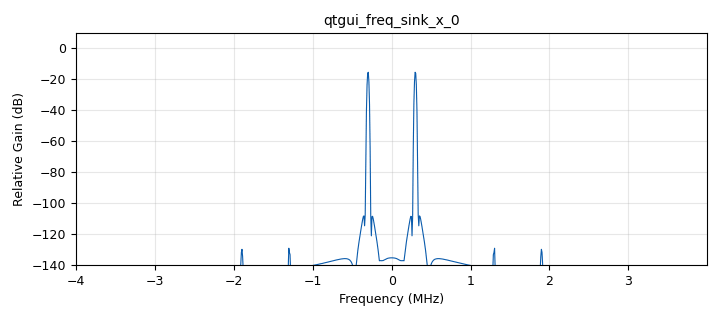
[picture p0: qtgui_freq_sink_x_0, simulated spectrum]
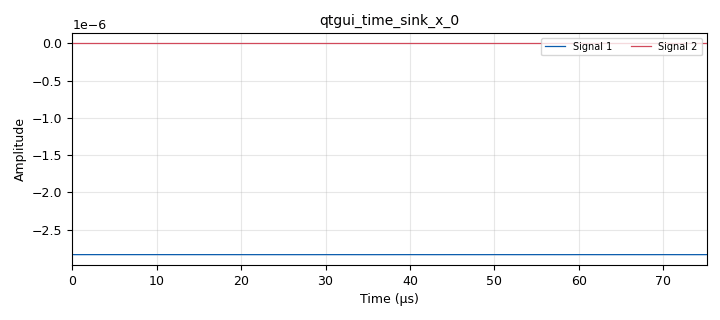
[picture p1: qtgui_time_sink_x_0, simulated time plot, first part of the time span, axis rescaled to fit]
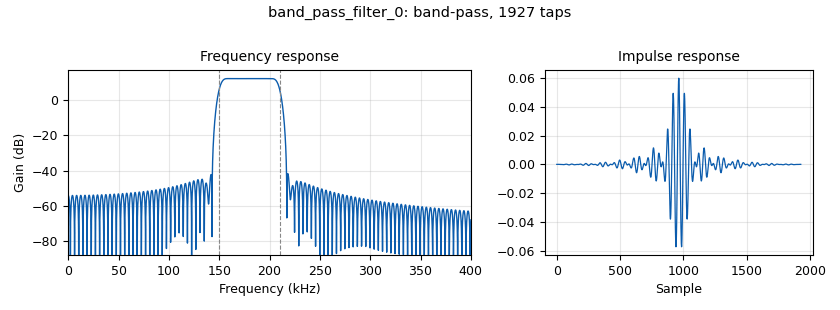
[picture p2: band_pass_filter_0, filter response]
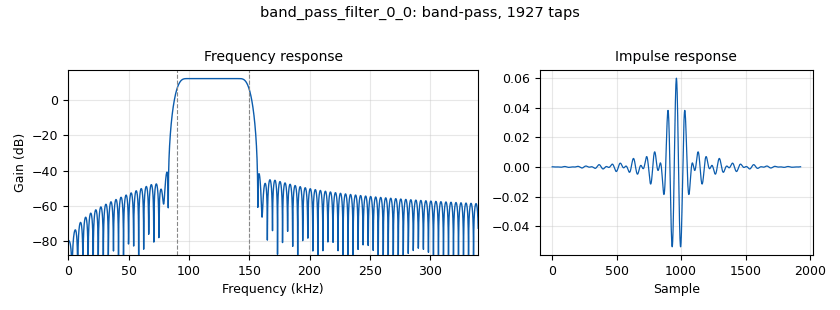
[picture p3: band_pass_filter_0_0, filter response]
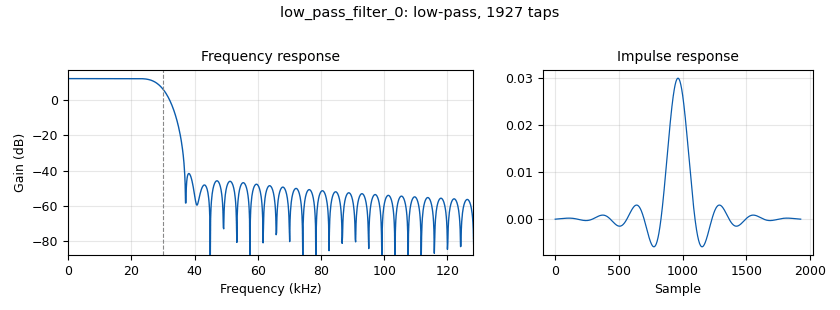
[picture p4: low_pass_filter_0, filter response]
options:
  parameters:
    generate_options: qt_gui
    id: Lab77
    output_language: python
    title: Not titled yet
  states: {}

blocks:
- name: samp_rate
  id: variable
  parameters:
    value: 8e6
  states: {}
- name: analog_sig_source_x_0
  id: analog_sig_source_x
  parameters:
    amp: '1'
    freq: 150e3
    offset: '0'
    phase: '0'
    samp_rate: samp_rate
    type: complex
    waveform: analog.GR_SIN_WAVE
  states: {}
- name: band_pass_filter_0
  id: band_pass_filter
  parameters:
    decim: '1'
    gain: '4'
    high_cutoff_freq: 210e3
    low_cutoff_freq: 150e3
    samp_rate: samp_rate
    type: fir_filter_fff
    width: 10e3
    win: window.WIN_HAMMING
  states: {}
- name: band_pass_filter_0_0
  id: band_pass_filter
  parameters:
    decim: '1'
    gain: '4'
    high_cutoff_freq: 150e3
    low_cutoff_freq: 90e3
    samp_rate: samp_rate
    type: fir_filter_fff
    width: 10e3
    win: window.WIN_HAMMING
  states: {}
- name: blocks_complex_to_real_0
  id: blocks_complex_to_real
  parameters: {}
  states: {}
- name: blocks_multiply_xx_0
  id: blocks_multiply_xx
  parameters:
    type: complex
  states: {}
- name: blocks_multiply_xx_1
  id: blocks_multiply_xx
  parameters:
    type: float
  states: {}
- name: blocks_multiply_xx_1_0
  id: blocks_multiply_xx
  parameters:
    type: float
  states: {}
- name: blocks_sub_xx_0
  id: blocks_sub_xx
  parameters:
    type: float
  states: {}
- name: blocks_threshold_ff_0
  id: blocks_threshold_ff
  parameters:
    high: '1'
    init: '0'
    low: '-1'
  states: {}
- name: blocks_throttle2_0
  id: blocks_throttle2
  parameters:
    samples_per_second: samp_rate
    type: complex
  states: {}
- name: low_pass_filter_0
  id: low_pass_filter
  parameters:
    cutoff_freq: 30e3
    decim: '1'
    gain: '4'
    samp_rate: samp_rate
    type: fir_filter_fff
    width: 10e3
    win: window.WIN_HAMMING
  states: {}
- name: low_pass_filter_0_0
  id: low_pass_filter
  parameters:
    cutoff_freq: 30e3
    decim: '1'
    gain: '4'
    samp_rate: samp_rate
    type: fir_filter_fff
    width: 10e3
    win: window.WIN_HAMMING
  states: {}
- name: qtgui_freq_sink_x_0
  id: qtgui_freq_sink_x
  parameters:
    alpha1: '0.2'
    average: '0.05'
    bw: samp_rate
    fc: '0'
    fftsize: '1024'
    type: float
  states: {}
- name: qtgui_freq_sink_x_0_0
  id: qtgui_freq_sink_x
  parameters:
    alpha1: '0.2'
    average: '0.05'
    bw: samp_rate
    fc: '0'
    fftsize: '1024'
    type: float
  states: {}
- name: qtgui_time_sink_x_0
  id: qtgui_time_sink_x
  parameters:
    nconnections: '2'
    size: '1024'
    srate: samp_rate
    type: float
  states: {}

connections:
- [analog_sig_source_x_0, '0', blocks_multiply_xx_0, '1']
- [analog_sig_source_x_0, '0', blocks_throttle2_0, '0']
- [band_pass_filter_0, '0', blocks_multiply_xx_1, '0']
- [band_pass_filter_0, '0', blocks_multiply_xx_1, '1']
- [band_pass_filter_0_0, '0', blocks_multiply_xx_1_0, '0']
- [band_pass_filter_0_0, '0', blocks_multiply_xx_1_0, '1']
- [blocks_complex_to_real_0, '0', band_pass_filter_0, '0']
- [blocks_complex_to_real_0, '0', band_pass_filter_0_0, '0']
- [blocks_complex_to_real_0, '0', qtgui_freq_sink_x_0, '0']
- [blocks_multiply_xx_0, '0', blocks_complex_to_real_0, '0']
- [blocks_multiply_xx_1, '0', low_pass_filter_0, '0']
- [blocks_multiply_xx_1_0, '0', low_pass_filter_0_0, '0']
- [blocks_sub_xx_0, '0', blocks_threshold_ff_0, '0']
- [blocks_sub_xx_0, '0', qtgui_time_sink_x_0, '0']
- [blocks_threshold_ff_0, '0', qtgui_freq_sink_x_0_0, '0']
- [blocks_threshold_ff_0, '0', qtgui_time_sink_x_0, '1']
- [blocks_throttle2_0, '0', blocks_multiply_xx_0, '0']
- [low_pass_filter_0, '0', blocks_sub_xx_0, '0']
- [low_pass_filter_0_0, '0', blocks_sub_xx_0, '1']

metadata:
  file_format: 1
  grc_version: 3.10.9.2
